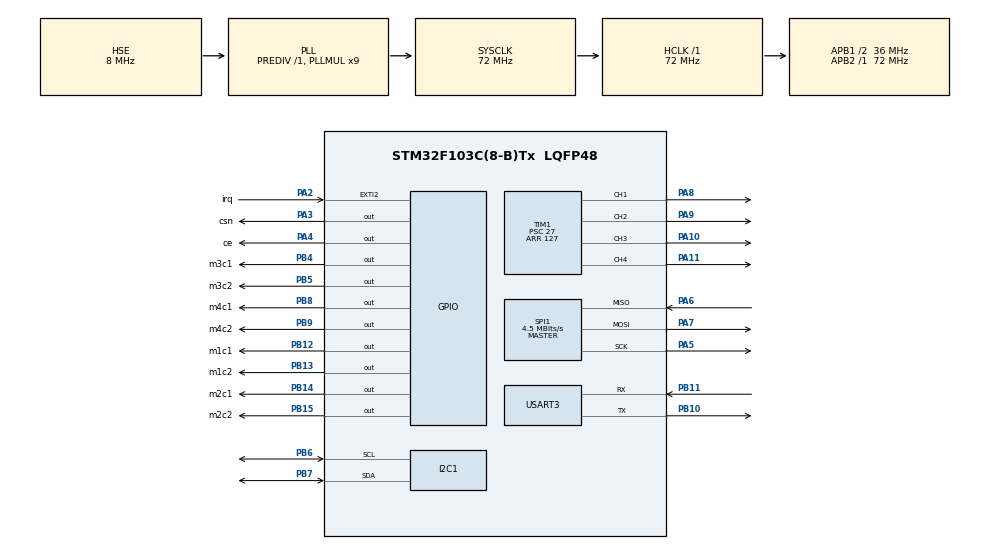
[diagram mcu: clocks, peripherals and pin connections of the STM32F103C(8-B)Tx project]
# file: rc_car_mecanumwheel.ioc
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Mcu.Family=STM32F1
Mcu.Name=STM32F103C(8-B)Tx
Mcu.Package=LQFP48
NVIC.EXTI2_IRQn=true\:0\:0\:false\:true\:true\:1\:true\:true\:true
NVIC.PriorityGroup=NVIC_PRIORITYGROUP_4
NVIC.USART3_IRQn=true\:0\:0\:true\:false\:true\:true\:true\:true
PA10.Signal=S_TIM1_CH3
PA11.Signal=S_TIM1_CH4
PA13.Mode=Serial_Wire
PA13.Signal=SYS_JTMS-SWDIO
PA14.Mode=Serial_Wire
PA14.Signal=SYS_JTCK-SWCLK
PA2.GPIO_Label=irq
PA2.GPIO_ModeDefaultEXTI=GPIO_MODE_IT_FALLING
PA2.GPIO_PuPd=GPIO_PULLUP
PA2.Signal=GPXTI2
PA3.GPIO_Label=csn
PA3.GPIO_Speed=GPIO_SPEED_FREQ_HIGH
PA3.PinState=GPIO_PIN_SET
PA3.Signal=GPIO_Output
PA4.GPIO_Label=ce
PA4.GPIO_Speed=GPIO_SPEED_FREQ_HIGH
PA4.PinState=GPIO_PIN_RESET
PA4.Signal=GPIO_Output
PA5.Mode=Full_Duplex_Master
PA5.Signal=SPI1_SCK
PA6.Mode=Full_Duplex_Master
PA6.Signal=SPI1_MISO
PA7.Mode=Full_Duplex_Master
PA7.Signal=SPI1_MOSI
PA8.Signal=S_TIM1_CH1
PA9.Signal=S_TIM1_CH2
PB10.Mode=Asynchronous
PB10.Signal=USART3_TX
PB11.Mode=Asynchronous
PB11.Signal=USART3_RX
PB12.GPIO_Label=m1c1
PB12.Signal=GPIO_Output
PB13.GPIO_Label=m1c2
PB13.Signal=GPIO_Output
PB14.GPIO_Label=m2c1
PB14.Signal=GPIO_Output
PB15.GPIO_Label=m2c2
PB15.Signal=GPIO_Output
PB4.GPIO_Label=m3c1
PB4.Signal=GPIO_Output
PB5.GPIO_Label=m3c2
PB5.Signal=GPIO_Output
PB6.Mode=I2C
PB6.Signal=I2C1_SCL
PB7.Mode=I2C
PB7.Signal=I2C1_SDA
PB8.GPIO_Label=m4c1
PB8.Signal=GPIO_Output
PB9.GPIO_Label=m4c2
PB9.Signal=GPIO_Output
PD0-OSC_IN.Mode=HSE-External-Oscillator
PD0-OSC_IN.Signal=RCC_OSC_IN
PD1-OSC_OUT.Mode=HSE-External-Oscillator
PD1-OSC_OUT.Signal=RCC_OSC_OUT
ProjectManager.HeapSize=0x200
ProjectManager.StackSize=0x400
ProjectManager.TargetToolchain=STM32CubeIDE
RCC.AHBFreq_Value=72000000
RCC.APB1CLKDivider=RCC_HCLK_DIV2
RCC.APB1Freq_Value=36000000
RCC.APB1TimFreq_Value=72000000
RCC.APB2Freq_Value=72000000
RCC.APB2TimFreq_Value=72000000
RCC.HCLKFreq_Value=72000000
RCC.PLLMUL=RCC_PLL_MUL9
RCC.PLLSourceVirtual=RCC_PLLSOURCE_HSE
RCC.SYSCLKFreq_VALUE=72000000
RCC.SYSCLKSource=RCC_SYSCLKSOURCE_PLLCLK
RCC.USBFreq_Value=72000000
SH.S_TIM1_CH1.0=TIM1_CH1,PWM Generation1 CH1
SH.S_TIM1_CH2.0=TIM1_CH2,PWM Generation2 CH2
SH.S_TIM1_CH3.0=TIM1_CH3,PWM Generation3 CH3
SH.S_TIM1_CH4.0=TIM1_CH4,PWM Generation4 CH4
SPI1.BaudRatePrescaler=SPI_BAUDRATEPRESCALER_16
SPI1.CalculateBaudRate=4.5 MBits/s
SPI1.Direction=SPI_DIRECTION_2LINES
SPI1.Mode=SPI_MODE_MASTER
SPI1.VirtualType=VM_MASTER
TIM1.Channel-PWM\ Generation1\ CH1=TIM_CHANNEL_1
TIM1.Channel-PWM\ Generation2\ CH2=TIM_CHANNEL_2
TIM1.Channel-PWM\ Generation3\ CH3=TIM_CHANNEL_3
TIM1.Channel-PWM\ Generation4\ CH4=TIM_CHANNEL_4
TIM1.Period=127
TIM1.Prescaler=27
USART3.VirtualMode=VM_ASYNC
VP_TIM1_VS_ClockSourceINT.Mode=Internal
board=custom

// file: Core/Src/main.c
/* USER CODE BEGIN Header */
/**
 ******************************************************************************
 * @file           : main.c
 * @brief          : Main program body
 ******************************************************************************
 * @attention
 *
 * Copyright (c) 2025 STMicroelectronics.
 * All rights reserved.
 *
 * This software is licensed under terms that can be found in the LICENSE file
 * in the root directory of this software component.
 * If no LICENSE file comes with this software, it is provided AS-IS.
 *
 ******************************************************************************
 */
/* USER CODE END Header */
#include "main.h"
#include "i2c.h"
#include "spi.h"
#include "tim.h"
#include "usart.h"
#include "gpio.h"

/* USER CODE BEGIN Includes */
#include "nrf24l01p.h"
#include <stdio.h>
/* USER CODE END Includes */

/* USER CODE BEGIN PTD */
//#define uart_test					// UART 테스트용 정의, 주석제거시 활성화 uart3 사용
#define RX_BUFFER_SIZE 100
/* USER CODE END PTD */

/* USER CODE BEGIN PV */
/*
Byte0   : 0xAB            // HEADER (시작 마커)
Byte1   : seq             // 시퀀스 번호 (0..255)
Byte2   : joy0_x  	  	// 좌스틱 X (0..255)
Byte3   : joy0_y   		// 좌스틱 Y (0..255)
Byte4   : joy1_x 	 	 // 우스틱 X (0..255)
Byte5   : joy1_y 	 	// 우스틱 Y (0..255)
Byte6   : btn_flags (u8)  // 버튼 비트맵: bit0..3=버튼1..4,
Byte7   : checksum (u8)   // simple checksum (예: sum of bytes1..6) & 0xFF
Byte8   : 0xBA            // TAIL (끝 마커)
 */
#ifdef uart_test
uint8_t rx_data;                // 1바이트 수신 버퍼
uint8_t rx_buffer[RX_BUFFER_SIZE]; // 수신 문자열 버퍼
uint16_t rx_index = 0;
uint8_t rxx_text[RX_BUFFER_SIZE]; // 수신 문자열 버퍼
#endif

uint8_t rxx_data[NRF24L01P_PAYLOAD_LENGTH] = {127,127,127,127,127,127,127,127,127};
uint8_t rx_flag;

typedef enum {
	PACKET_OK = 0,           // 정상 패킷
	PACKET_INVALID_HEADER,   // 헤더가 잘못됨
	PACKET_INVALID_TAIL,     // 테일이 잘못됨
	PACKET_INVALID_CS,      // checksum 잘못됨
} PacketStatus_t;
/* USER CODE END PV */

void SystemClock_Config(void);
static void MX_NVIC_Init(void);
/* USER CODE BEGIN PFP */
int _write(int file, char *ptr, int len)
{
	HAL_UART_Transmit(&huart3, (uint8_t *)ptr, len, HAL_MAX_DELAY);

	return len;
}
#ifdef uart_test
void HAL_UART_RxCpltCallback(UART_HandleTypeDef *huart)
{
	if (huart->Instance == USART3)
	{
		if (rx_data == '\n' || rx_data == '\r')
		{
			rx_buffer[rx_index] = '\0'; // 문자열 종료

			// 에코 출력
			printf("%s\r\n", rx_buffer);
			rx_index = 0; // 인덱스 초기화
		}
		else
		{
			if (rx_index < RX_BUFFER_SIZE - 1)
			{
				rx_buffer[rx_index++] = rx_data;
			}
		}

		// 다음 바이트 수신 대기
		HAL_UART_Receive_IT(&huart3, &rx_data, 1);
	}
}
#endif

PacketStatus_t checkPackit()
{
	if(rxx_data[0] != 0xAB)
	{
		return PACKET_INVALID_HEADER;
	}

	if(rxx_data[8] != 0xBA)
	{
		return PACKET_INVALID_TAIL;
	}

	if(((rxx_data[1] + rxx_data[2] + rxx_data[3]+ rxx_data[4]+ rxx_data[5] + rxx_data[6]) & 0xFF) != rxx_data[7])
	{
		return PACKET_INVALID_CS;
	}

	return PACKET_OK;
}

void lf_backward()
{
	HAL_GPIO_WritePin(m1c1_GPIO_Port, m1c1_Pin, 1);
	HAL_GPIO_WritePin(m1c2_GPIO_Port, m1c2_Pin, 0);
}

void lf_forward()
{
	HAL_GPIO_WritePin(m1c1_GPIO_Port, m1c1_Pin, 0);
	HAL_GPIO_WritePin(m1c2_GPIO_Port, m1c2_Pin, 1);
}

void rf_forward()
{
	HAL_GPIO_WritePin(m2c1_GPIO_Port, m2c1_Pin, 1);
	HAL_GPIO_WritePin(m2c2_GPIO_Port, m2c2_Pin, 0);
}

void rf_backward()
{
	HAL_GPIO_WritePin(m2c1_GPIO_Port, m2c1_Pin, 0);
	HAL_GPIO_WritePin(m2c2_GPIO_Port, m2c2_Pin, 1);
}

void lr_forward()
{
	HAL_GPIO_WritePin(m3c1_GPIO_Port, m3c1_Pin, 1);
	HAL_GPIO_WritePin(m3c2_GPIO_Port, m3c2_Pin, 0);
}

void lr_backward()
{
	HAL_GPIO_WritePin(m3c1_GPIO_Port, m3c1_Pin, 0);
	HAL_GPIO_WritePin(m3c2_GPIO_Port, m3c2_Pin, 1);
}

void rr_backward()
{
	HAL_GPIO_WritePin(m4c1_GPIO_Port, m4c1_Pin, 1);
	HAL_GPIO_WritePin(m4c2_GPIO_Port, m4c2_Pin, 0);
}

void rr_forward()
{
	HAL_GPIO_WritePin(m4c1_GPIO_Port, m4c1_Pin, 0);
	HAL_GPIO_WritePin(m4c2_GPIO_Port, m4c2_Pin, 1);
}
void brake()
{
	HAL_GPIO_WritePin(m1c1_GPIO_Port, m1c1_Pin, 1);
	HAL_GPIO_WritePin(m1c2_GPIO_Port, m1c2_Pin, 1);
	HAL_GPIO_WritePin(m2c1_GPIO_Port, m2c1_Pin, 1);
	HAL_GPIO_WritePin(m2c2_GPIO_Port, m2c2_Pin, 1);
	HAL_GPIO_WritePin(m3c1_GPIO_Port, m3c1_Pin, 1);
	HAL_GPIO_WritePin(m3c2_GPIO_Port, m3c2_Pin, 1);
	HAL_GPIO_WritePin(m4c1_GPIO_Port, m4c1_Pin, 1);
	HAL_GPIO_WritePin(m4c2_GPIO_Port, m4c2_Pin, 1);
	TIM1->CCR1 = 0;
	TIM1->CCR2 = 0;
	TIM1->CCR3 = 0;
	TIM1->CCR4 = 0;
}
/*
 * Numbers represent each direction
 *										<roller direction>
 *           7   8   9			      (lf)  \\\		///  (rf)
 *           4  body 6						    body
 *           1   2   3				  (lr)	///		\\\  (rr)
 *
 * Each direction describes the direction of rotation of the motor.
 * Check the roller direction of the Mecanum wheel.
 * lf - left front(pwm1), rf - right front(pwm2), lr - left rear(pwm3), rr - right rear(pwm4)
 *
 *       9 - lf, rr motors rotate forward
 *       8 - All motors rotate forward
 *       7 - rf, lr motors rotate forward
 *       6 - lf, rr motors rotate forward, rf, lr motors rotate backward
 *       4 - rf, lr motors rotate forward, lf, rr motors rotate backward
 *       3 - rf, lr motors rotate backward
 *       2 - All motors rotate backward
 *       1 - lf, rr motors rotate backward
 */
void direction9(uint8_t ccr)
{
	lf_forward();
	rr_forward();
	TIM1->CCR1 = ccr;
	TIM1->CCR2 =  0;
	TIM1->CCR3 =  0;
	TIM1->CCR4 =  ccr;
}

void direction8(uint8_t ccr)
{
	lf_forward();
	rr_forward();
	rf_forward();
	lr_forward();
	TIM1->CCR1 =  ccr;
	TIM1->CCR2 =  ccr;
	TIM1->CCR3 =  ccr;
	TIM1->CCR4 =  ccr;
}

void direction7(uint8_t ccr)
{
	rf_forward();
	lr_forward();
	TIM1->CCR1 = 0;
	TIM1->CCR2 = ccr;
	TIM1->CCR3 = ccr;
	TIM1->CCR4 = 0;
}

void direction6(uint8_t ccr)
{
	rf_backward();
	lr_backward();
	lf_forward();
	rr_forward();
	TIM1->CCR1 =  ccr;
	TIM1->CCR2 =  ccr;
	TIM1->CCR3 =  ccr;
	TIM1->CCR4 =  ccr;
}

void direction4(uint8_t ccr)
{
	rf_forward();
	lr_forward();
	lf_backward();
	rr_backward();
	TIM1->CCR1 =  ccr;
	TIM1->CCR2 =  ccr;
	TIM1->CCR3 =  ccr;
	TIM1->CCR4 =  ccr;
}

void direction3(uint8_t ccr)
{
	rf_backward();
	lr_backward();
	TIM1->CCR1 = 0;
	TIM1->CCR2 = ccr;
	TIM1->CCR3 = ccr;
	TIM1->CCR4 = 0;
}

void direction2(uint8_t ccr)
{
	lf_backward();
	lr_backward();
	rr_backward();
	rf_backward();
	TIM1->CCR1 = ccr;
	TIM1->CCR2 = ccr;
	TIM1->CCR3 = ccr;
	TIM1->CCR4 = ccr;
}

void direction1(uint8_t ccr)
{
	lf_backward();
	rr_backward();
	TIM1->CCR1 = ccr;
	TIM1->CCR2 = 0;
	TIM1->CCR3 = 0;
	TIM1->CCR4 = ccr;
}

void turnLeft()
{
	lf_backward();
	lr_backward();
	rf_forward();
	rr_forward();
	TIM1->CCR1 = 100;
	TIM1->CCR2 = 100;
	TIM1->CCR3 = 100;
	TIM1->CCR4 = 100;
}

void turnRight()
{
	lf_forward();
	lr_forward();
	rf_backward();
	rr_backward();
	TIM1->CCR1 = 100;
	TIM1->CCR2 = 100;
	TIM1->CCR3 = 100;
	TIM1->CCR4 = 100;
}
/* USER CODE END PFP */

int main(void)
{

	/* MCU Configuration--------------------------------------------------------*/

	/* Reset of all peripherals, Initializes the Flash interface and the Systick. */
	HAL_Init();

	/* Configure the system clock */
	SystemClock_Config();

	/* Initialize all configured peripherals */
	MX_GPIO_Init();
	MX_I2C1_Init();
	MX_SPI1_Init();
	MX_TIM1_Init();
	MX_USART3_UART_Init();

	/* Initialize interrupts */
	MX_NVIC_Init();
	/* USER CODE BEGIN 2 */

	nrf24l01p_rx_init(2500, _1Mbps);
	HAL_TIM_PWM_Start(&htim1, TIM_CHANNEL_1);
	HAL_TIM_PWM_Start(&htim1, TIM_CHANNEL_2);
	HAL_TIM_PWM_Start(&htim1, TIM_CHANNEL_3);
	HAL_TIM_PWM_Start(&htim1, TIM_CHANNEL_4);
#ifdef uart_test
	HAL_UART_Receive_IT(&huart3, &rx_data, 1);
#endif
	/* USER CODE END 2 */

	/* Infinite loop */
	/* USER CODE BEGIN WHILE */

	while (1)
	{

		if((rx_flag == 1) && (checkPackit() == PACKET_OK))
		{
			if(rxx_data[6] & 0x01) //bt1 pushed
			{
				turnLeft();
			}
			else if(rxx_data[6] & 0x02) //bt2 pushed
			{
				turnRight();
			}
			else if(rxx_data[3] > 135)
			{
				direction8(rxx_data[3]-127);
			}
			else if(rxx_data[3] < 120)
			{
				direction2(127 - rxx_data[3]);
			}
			else if(rxx_data[2] > 135)
			{
				direction4(rxx_data[2]-127);
			}
			else if(rxx_data[2] < 120)
			{
				direction6(127 - rxx_data[2]);
			}
			else if(rxx_data[4] > 135)
			{
				direction7(rxx_data[4]-127);
			}
			else if(rxx_data[4] < 120)
			{
				direction3(127 - rxx_data[4]);
			}
			else if(rxx_data[5] > 135)
			{
				direction9(rxx_data[5]-127);
			}
			else if(rxx_data[5] < 120)
			{
				direction1(127 - rxx_data[5]);
			}
			else
			{
				brake();
			}

			rx_flag = 0;
		}

		/* USER CODE END WHILE */

	}
}

void SystemClock_Config(void)
{
	RCC_OscInitTypeDef RCC_OscInitStruct = {0};
	RCC_ClkInitTypeDef RCC_ClkInitStruct = {0};

	/** Initializes the RCC Oscillators according to the specified parameters
	 * in the RCC_OscInitTypeDef structure.
	 */
	RCC_OscInitStruct.OscillatorType = RCC_OSCILLATORTYPE_HSE;
	RCC_OscInitStruct.HSEState = RCC_HSE_ON;
	RCC_OscInitStruct.HSEPredivValue = RCC_HSE_PREDIV_DIV1;
	RCC_OscInitStruct.HSIState = RCC_HSI_ON;
	RCC_OscInitStruct.PLL.PLLState = RCC_PLL_ON;
	RCC_OscInitStruct.PLL.PLLSource = RCC_PLLSOURCE_HSE;
	RCC_OscInitStruct.PLL.PLLMUL = RCC_PLL_MUL9;
	if (HAL_RCC_OscConfig(&RCC_OscInitStruct) != HAL_OK)
	{
		Error_Handler();
	}

	/** Initializes the CPU, AHB and APB buses clocks
	 */
	RCC_ClkInitStruct.ClockType = RCC_CLOCKTYPE_HCLK|RCC_CLOCKTYPE_SYSCLK
			|RCC_CLOCKTYPE_PCLK1|RCC_CLOCKTYPE_PCLK2;
	RCC_ClkInitStruct.SYSCLKSource = RCC_SYSCLKSOURCE_PLLCLK;
	RCC_ClkInitStruct.AHBCLKDivider = RCC_SYSCLK_DIV1;
	RCC_ClkInitStruct.APB1CLKDivider = RCC_HCLK_DIV2;
	RCC_ClkInitStruct.APB2CLKDivider = RCC_HCLK_DIV1;

	if (HAL_RCC_ClockConfig(&RCC_ClkInitStruct, FLASH_LATENCY_2) != HAL_OK)
	{
		Error_Handler();
	}
}

/**
 * @brief NVIC Configuration.
 * @retval None
 */
static void MX_NVIC_Init(void)
{
	/* EXTI2_IRQn interrupt configuration */
	HAL_NVIC_SetPriority(EXTI2_IRQn, 0, 0);
	HAL_NVIC_EnableIRQ(EXTI2_IRQn);
}

/* USER CODE BEGIN 4 */
void HAL_GPIO_EXTI_Callback(uint16_t GPIO_Pin)
{
	if(GPIO_Pin == NRF24L01P_IRQ_PIN_NUMBER)
	{
		rx_flag = 1;
		nrf24l01p_rx_receive(rxx_data);
#ifdef uart_test
		sprintf(rxx_text, "%02x, %02x, %02x, %02x, %02x, %02x, %02x, %02x, %02x\r\n", rxx_data[0], rxx_data[1], rxx_data[2], rxx_data[3], rxx_data[4], rxx_data[5], rxx_data[6], rxx_data[7], rxx_data[8]);
		HAL_UART_Transmit(&huart3, rxx_text, RX_BUFFER_SIZE, HAL_MAX_DELAY);
#endif
	}

}
/* USER CODE END 4 */

void Error_Handler(void)
{
	__disable_irq();
	while (1)
	{
	}
}
